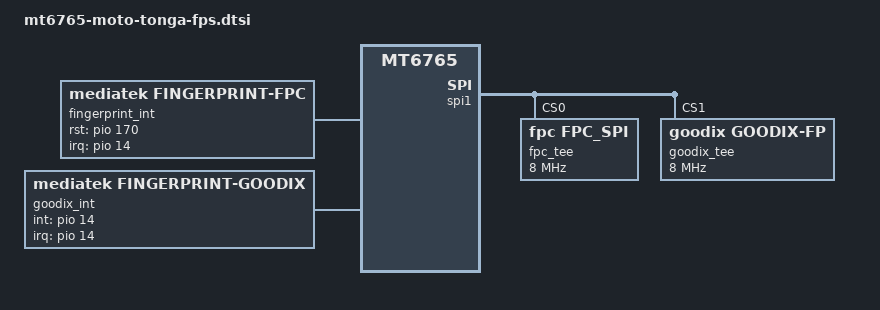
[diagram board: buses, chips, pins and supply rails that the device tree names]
&pio {
	fps_irq: fps_irq {
		pins_cmd_dat {
			pinmux = <PINMUX_GPIO14__FUNC_GPIO14>;
			slew-rate = <0>;
			bias-disable;
		};
	};

	fps_reset_high: fps_reset_high {
		pins_cmd_dat {
			pinmux = <PINMUX_GPIO170__FUNC_GPIO170>;
			slew-rate = <1>;
			output-high;
		};
	};

	fps_reset_low: fps_reset_low {
		pins_cmd_dat {
			pinmux = <PINMUX_GPIO170__FUNC_GPIO170>;
			slew-rate = <1>;
			output-low;
		};
	};
};
/*
&pio {
        fingerprint_pins_default: fp_default {
                pins_cmd_dat {
                        pinmux = <PINMUX_GPIO26__FUNC_GPIO26>;
                        slew-rate = <1>;
                        bias-pull-up;
                };

                pins_cmd2_dat {
                        pinmux = <PINMUX_GPIO28__FUNC_GPIO28>;
                        slew-rate = <1>;
                        bias-pull-down;
                };

                pins_cmd3_dat {
                        pinmux = <PINMUX_GPIO25__FUNC_GPIO25>;
                        slew-rate = <0>;
                        bias-pull-down;
                };

                pins_cmd4_dat {
                        pinmux = <PINMUX_GPIO27__FUNC_GPIO27>;
                        slew-rate = <1>;
                        bias-pull-down;
                };
        };

        fingerfp_default: fingerfpdefault {
        };

        fingerprint_reset_high: state_reset_high {
                pins_cmd_dat {
                        pinmux = <PINMUX_GPIO170__FUNC_GPIO170>;
                        slew-rate = <1>;
                        output-high;
                };
        };

        fingerprint_reset_low: state_reset_low {
                pins_cmd_dat {
                        pinmux = <PINMUX_GPIO170__FUNC_GPIO170>;
                        slew-rate = <1>;
                        output-low;
                };
        };

        fingerprint_power_high: state_power_high {
                pins_cmd_dat {
                        pinmux = <PINMUX_GPIO153__FUNC_GPIO153>;
                        slew-rate = <1>;
                        output-high;
                };
        };

        fingerprint_irq: fp_eint@14 {
                pins_cmd_dat {
                        pinmux = <PINMUX_GPIO14__FUNC_GPIO14>;
                        slew-rate = <0>;
                        bias-disable;
                };
        };

};
*/

&odm {
	fingerprint_int: fingerprint_int {
		compatible = "mediatek,fingerprint-fpc";
		fpc,enable-wakeup;
		interrupt-parent = <&pio>;
		interrupts = <14 IRQ_TYPE_EDGE_RISING 14 0>;
		pinctrl-names = "fingerprint_irq", "fingerprint_reset_high", "fingerprint_reset_low";
		pinctrl-0 = <&fps_irq>;
		pinctrl-1 = <&fps_reset_high>;
		pinctrl-2 = <&fps_reset_low>;
		fpc,rst= <&pio 170 0>;
		fpc,irq = <&pio 14 0>;
		status = "okay";
	};

	goodix_int: goodix_int {
		compatible = "mediatek,fingerprint-goodix";
		interrupt-parent = <&pio>;
		interrupts = <14 IRQ_TYPE_EDGE_RISING 14 0>;
		pinctrl-names = "fingerprint_irq", "fingerprint_reset_high", "fingerprint_reset_low";
		pinctrl-0 = <&fps_irq>;
		pinctrl-1 = <&fps_reset_high>;
		pinctrl-2 = <&fps_reset_low>;
		int-gpios = <&pio 14 0>;
		status = "okay";
	};
};

&spi1 {
	#address-cells = <1>;
	#size-cells = <0>;
	mediatek,pad-select = <0>, <1>;
	fpc_tee@0 {
		compatible = "fpc,fpc_spi";
		reg = <0>;
		fpc,enable-wakeup;
		spi-max-frequency = <8000000>;
		netlink-event = <31>;
		status = "okay";
	};

	goodix_tee@1 {
		status = "okay";
		compatible = "goodix,goodix-fp";
		reg = <1>;
		spi-max-frequency = <8000000>;
		netlink-event = <30>;
	};
};
